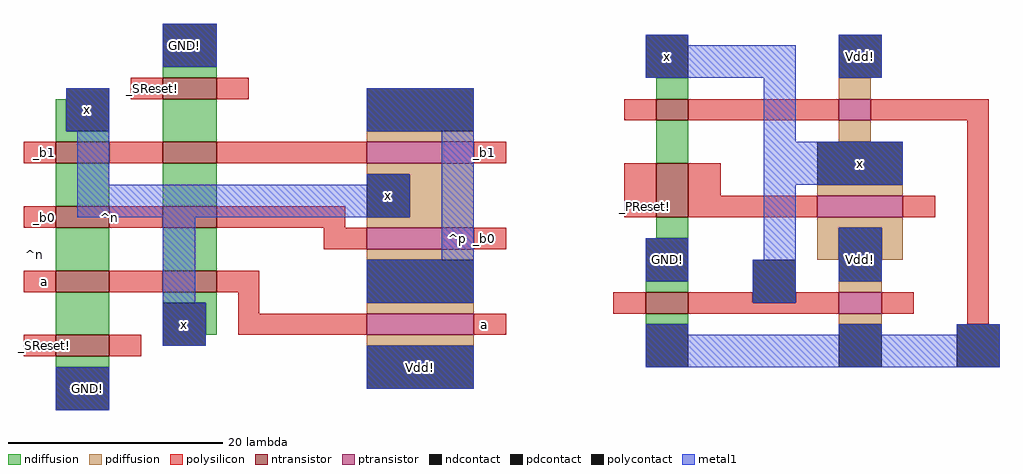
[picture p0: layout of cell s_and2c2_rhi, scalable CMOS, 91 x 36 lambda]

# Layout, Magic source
magic
tech scmos
<< ndiffusion >>
rect -51 602 -46 603
rect -61 597 -60 600
rect -61 596 -56 597
rect -51 596 -46 600
rect -5 600 -2 602
rect -5 594 -2 598
rect -61 590 -56 594
rect -51 590 -46 594
rect -61 584 -56 588
rect -51 584 -46 588
rect -5 587 -2 589
rect -61 578 -56 582
rect -51 581 -46 582
rect -47 578 -46 581
rect -6 582 -2 583
rect -6 579 -2 580
rect -61 575 -56 576
<< pdiffusion >>
rect 12 600 15 602
rect -32 596 -22 597
rect 12 596 15 598
rect -32 593 -22 594
rect -28 589 -22 593
rect 10 591 18 592
rect -32 588 -22 589
rect -32 585 -22 586
rect 10 588 18 589
rect 10 585 12 588
rect -32 580 -22 581
rect 16 585 18 588
rect 12 582 16 583
rect -32 577 -22 578
rect 12 579 16 580
<< ntransistor >>
rect -51 600 -46 602
rect -5 598 -2 600
rect -61 594 -56 596
rect -51 594 -46 596
rect -61 588 -56 590
rect -51 588 -46 590
rect -5 589 -2 594
rect -61 582 -56 584
rect -51 582 -46 584
rect -61 576 -56 578
rect -6 580 -2 582
<< ptransistor >>
rect 12 598 15 600
rect -32 594 -22 596
rect 10 589 18 591
rect -32 586 -22 588
rect 12 580 16 582
rect -32 578 -22 580
<< polysilicon >>
rect -54 600 -51 602
rect -46 600 -43 602
rect -8 598 -5 600
rect -2 598 12 600
rect 15 598 26 600
rect -64 594 -61 596
rect -56 594 -51 596
rect -46 594 -32 596
rect -22 594 -19 596
rect -64 588 -61 590
rect -56 588 -51 590
rect -46 588 -34 590
rect -8 589 -5 594
rect -2 591 1 594
rect -2 589 10 591
rect 18 589 21 591
rect -36 586 -32 588
rect -22 586 -19 588
rect -64 582 -61 584
rect -56 582 -51 584
rect -46 582 -42 584
rect -64 576 -61 578
rect -56 576 -53 578
rect -44 580 -42 582
rect -9 580 -6 582
rect -2 581 4 582
rect 8 581 12 582
rect -2 580 12 581
rect 16 580 19 582
rect -44 578 -32 580
rect -22 578 -19 580
rect 24 579 26 598
<< ndcontact >>
rect -51 603 -46 607
rect -6 602 -2 606
rect -60 597 -56 601
rect -51 577 -47 581
rect -6 583 -2 587
rect -61 571 -56 575
rect -6 575 -2 579
<< pdcontact >>
rect -32 597 -22 601
rect 12 602 16 606
rect -32 589 -28 593
rect 10 592 18 596
rect -32 581 -22 585
rect 12 583 16 588
rect -32 573 -22 577
rect 12 575 16 579
<< polycontact >>
rect 4 581 8 585
rect 23 575 27 579
<< metal1 >>
rect -51 603 -46 607
rect -6 605 -2 606
rect -6 602 8 605
rect 12 602 16 606
rect -60 597 -56 601
rect -32 597 -22 601
rect -59 592 -56 597
rect -32 592 -28 593
rect -59 589 -28 592
rect -51 581 -48 589
rect -25 585 -22 597
rect 5 596 8 602
rect 5 592 18 596
rect -32 581 -22 585
rect -6 583 -2 587
rect 5 585 8 592
rect 4 581 8 585
rect 12 583 16 588
rect -51 577 -47 581
rect -6 578 -2 579
rect 12 578 16 579
rect 23 578 27 579
rect -61 571 -56 575
rect -32 573 -22 577
rect -6 575 27 578
<< labels >>
rlabel polysilicon -21 579 -21 579 3 a
rlabel polysilicon -21 587 -21 587 7 _b0
rlabel polysilicon -21 595 -21 595 7 _b1
rlabel polysilicon -52 601 -52 601 1 _SReset!
rlabel space -65 570 -47 608 7 ^n
rlabel space -29 572 -18 602 3 ^p
rlabel polysilicon -62 577 -62 577 3 _SReset!
rlabel polysilicon -62 583 -62 583 3 a
rlabel polysilicon -62 589 -62 589 7 _b0
rlabel polysilicon -62 595 -62 595 7 _b1
rlabel space -65 571 -61 600 7 ^n
rlabel polysilicon -6 590 -6 590 1 _PReset!
rlabel pdcontact -27 575 -27 575 5 Vdd!
rlabel pdcontact -30 591 -30 591 4 x
rlabel ndcontact -49 579 -49 579 1 x
rlabel ndcontact -49 605 -49 605 6 GND!
rlabel ndcontact -58 599 -58 599 5 x
rlabel ndcontact -58 573 -58 573 2 GND!
rlabel pdcontact 14 585 14 585 1 Vdd!
rlabel ndcontact -4 585 -4 585 1 GND!
rlabel pdcontact 14 594 14 594 1 x
rlabel pdcontact 14 604 14 604 1 Vdd!
rlabel ndcontact -4 604 -4 604 5 x
<< end >>
